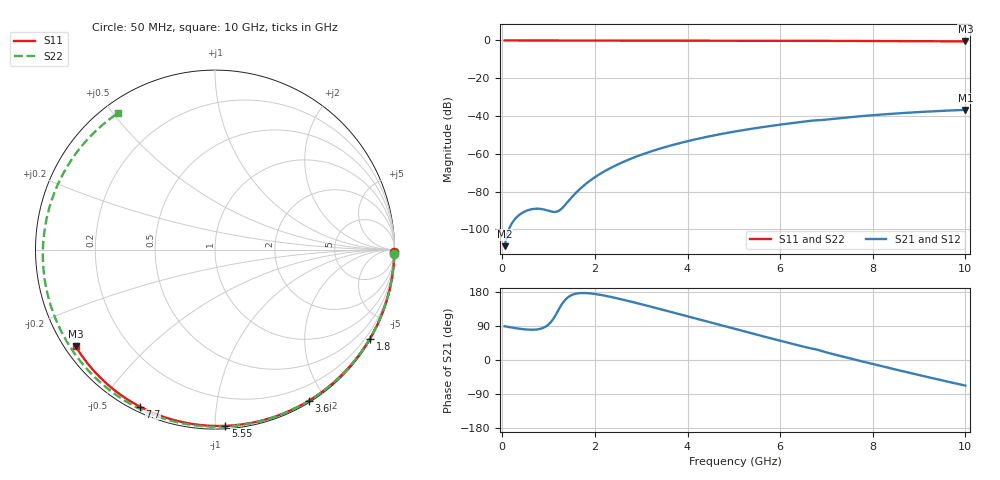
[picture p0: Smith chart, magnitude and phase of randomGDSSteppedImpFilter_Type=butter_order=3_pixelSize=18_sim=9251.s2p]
! freq	dB(S11)	phase(S11)	dB(S12)	phase(S12)
!  dB(S21)	phase(S21)	dB(S22)	phase(S22)
!S-par simulation data
#  GHz  S  DB  R 50
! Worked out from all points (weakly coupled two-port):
!   200 points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, 50 MHz to 10 GHz, reference 50 ohm
!   highest |S21| = -36.73 dB at 10 GHz (marker M1); lowest = -108.9 dB at 50 MHz (marker M2)
!   lowest |S11| = -0.5 dB at 10 GHz (marker M3), VSWR 35.31, Z = 1.55 - j15.7 ohm
!   |S11| at or under -10 dB: nowhere
!   |S22| runs from -0.6 to 0.0 dB; largest |S21 - S12| = 0
!   S11 on the Smith chart (normalised r, x): 50 MHz: open; 1.8 GHz: 0.03, -3.75; 3.6 GHz: 0.02, -1.80; 5.55 GHz: 0.02, -1.06; 7.7 GHz: 0.02, -0.63; 10 GHz: 0.03, -0.31
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0.05  -0.00 -0.8  -108.86 88.9  -108.86 88.9  -0.00 -1.4
0.4  -0.01 -6.7  -91.72 82.1  -91.72 82.1  -0.02 -11.2
0.8  -0.02 -13.4  -89.08 81.7  -89.08 81.7  -0.03 -22.4
1.2  -0.02 -20.0  -90.40 129.1  -90.40 129.1  -0.04 -33.3
1.6  -0.03 -26.6  -80.38 175.2  -80.38 175.2  -0.06 -44.1
1.75  -0.04 -29.0  -76.99 176.8  -76.99 176.8  -0.06 -48.1
1.8  -0.04 -29.8  -75.97 176.7  -75.97 176.7  -0.06 -49.4
2.1  -0.04 -34.7  -70.79 172.3  -70.79 172.3  -0.07 -57.2
2.45  -0.05 -40.3  -66.11 163.6  -66.11 163.6  -0.08 -66.2
2.9  -0.06 -47.4  -61.40 150.4  -61.40 150.4  -0.10 -77.3
3.4  -0.07 -55.1  -57.26 134.6  -57.26 134.6  -0.11 -89.4
3.6  -0.08 -58.2  -55.84 128.2  -55.84 128.2  -0.12 -94.0
4.3  -0.10 -68.7  -51.62 105.5  -51.62 105.5  -0.15 -110.0
5.05  -0.12 -79.6  -48.07 81.2  -48.07 81.2  -0.19 -126.4
5.55  -0.14 -86.7  -46.11 65.1  -46.11 65.1  -0.21 -137.0
6.15  -0.17 -95.0  -44.07 46.2  -44.07 46.2  -0.26 -149.6
6.7  -0.20 -102.4  -42.41 29.8  -42.41 29.8  -0.29 -161.1
7.2  -0.23 -109.1  -41.32 13.7  -41.32 13.7  -0.33 -171.5
7.7  -0.27 -115.6  -40.17 -1.6  -40.17 -1.6  -0.37 178.0
8.35  -0.32 -124.0  -38.91 -20.9  -38.91 -20.9  -0.44 163.9
9.15  -0.40 -134.3  -37.68 -44.0  -37.68 -44.0  -0.52 145.8
10  -0.49 -145.2  -36.73 -67.6  -36.73 -67.6  -0.61 125.3
